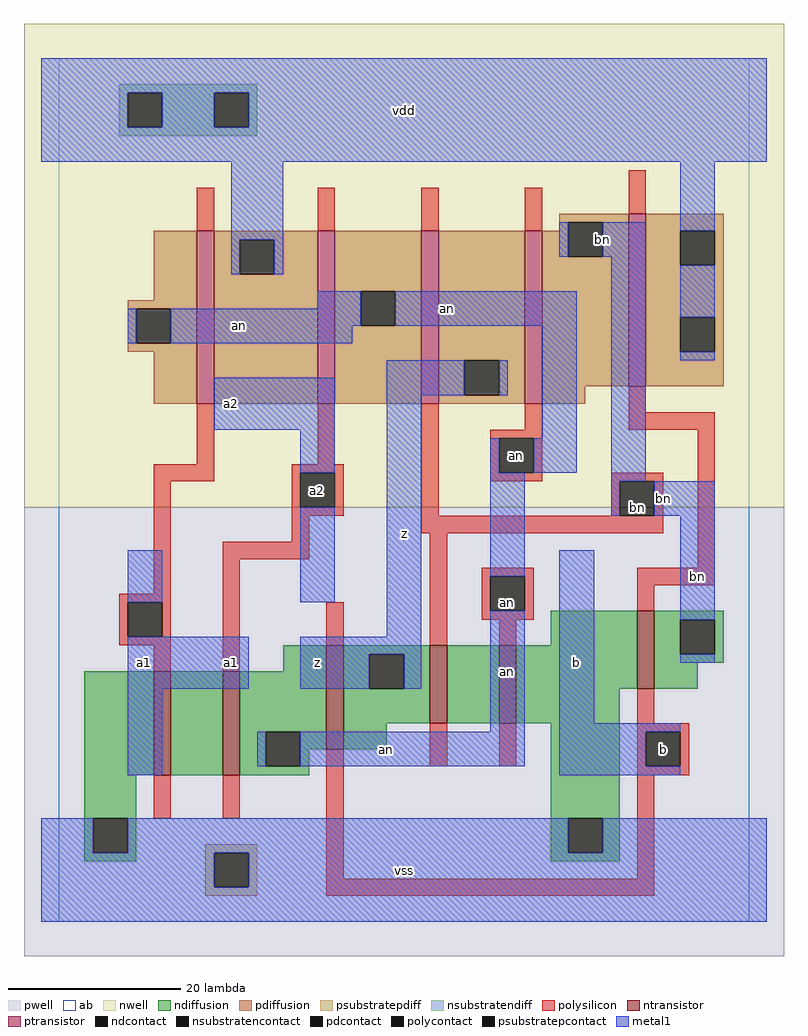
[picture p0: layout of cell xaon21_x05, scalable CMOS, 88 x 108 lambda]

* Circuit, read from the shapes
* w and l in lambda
.subckt xaon21_x05 a1 a2 an b bn vdd vss z
M1 n1 a1 vss vss nfet w=12 l=2
M2 an a2 n1 vss nfet w=12 l=2
M3 z b an vss nfet w=12 l=2
M4 n2 bn z vss nfet w=9 l=2
M5 vss an n2 vss nfet w=9 l=2
M6 bn b vss vss nfet w=9 l=2
M7 vdd a1 an vdd pfet w=20 l=2
M8 an a2 vdd vdd pfet w=20 l=2
M9 z bn an vdd pfet w=20 l=2
M10 bn an z vdd pfet w=20 l=2
M11 vdd b bn vdd pfet w=20 l=2
.ends

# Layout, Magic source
magic
tech scmos
<< ab >>
rect 0 0 80 100
<< pwell >>
rect -4 -4 84 48
<< nwell >>
rect -4 48 84 104
<< polysilicon >>
rect 16 80 18 85
rect 30 80 32 85
rect 42 80 44 85
rect 54 80 56 85
rect 66 82 68 87
rect 16 53 18 60
rect 30 53 32 60
rect 11 51 18 53
rect 27 52 33 53
rect 11 38 13 51
rect 27 48 28 52
rect 32 48 33 52
rect 27 47 33 48
rect 42 47 44 60
rect 54 57 56 60
rect 66 59 68 62
rect 66 57 76 59
rect 50 56 56 57
rect 50 52 51 56
rect 55 52 56 56
rect 50 51 56 52
rect 64 51 70 52
rect 64 47 65 51
rect 69 47 70 51
rect 27 44 29 47
rect 42 45 70 47
rect 7 37 13 38
rect 7 33 8 37
rect 12 33 13 37
rect 7 32 13 33
rect 11 29 13 32
rect 19 42 29 44
rect 19 29 21 42
rect 31 32 33 37
rect 43 32 45 45
rect 74 41 76 57
rect 49 40 55 41
rect 49 36 50 40
rect 54 36 55 40
rect 67 39 76 41
rect 67 36 69 39
rect 49 35 55 36
rect 51 32 53 35
rect 11 12 13 17
rect 19 12 21 17
rect 31 5 33 20
rect 43 18 45 23
rect 51 18 53 23
rect 67 23 69 27
rect 67 22 73 23
rect 67 18 68 22
rect 72 18 73 22
rect 67 17 73 18
rect 67 5 69 17
rect 31 3 69 5
<< ndiffusion >>
rect 57 32 67 36
rect 26 29 31 32
rect 3 17 11 29
rect 13 17 19 29
rect 21 22 31 29
rect 21 18 24 22
rect 28 20 31 22
rect 33 31 43 32
rect 33 27 36 31
rect 40 27 43 31
rect 33 23 43 27
rect 45 23 51 32
rect 53 27 67 32
rect 69 35 77 36
rect 69 31 72 35
rect 76 31 77 35
rect 69 30 77 31
rect 69 27 74 30
rect 53 23 65 27
rect 33 20 38 23
rect 28 18 29 20
rect 21 17 29 18
rect 3 12 9 17
rect 3 8 4 12
rect 8 8 9 12
rect 3 7 9 8
rect 57 12 65 23
rect 57 8 59 12
rect 63 8 65 12
rect 57 7 65 8
<< pdiffusion >>
rect 58 81 66 82
rect 58 80 59 81
rect 11 72 16 80
rect 8 71 16 72
rect 8 67 9 71
rect 13 67 16 71
rect 8 66 16 67
rect 11 60 16 66
rect 18 79 30 80
rect 18 75 21 79
rect 25 75 30 79
rect 18 60 30 75
rect 32 73 42 80
rect 32 69 35 73
rect 39 69 42 73
rect 32 60 42 69
rect 44 65 54 80
rect 44 61 47 65
rect 51 61 54 65
rect 44 60 54 61
rect 56 77 59 80
rect 63 77 66 81
rect 56 62 66 77
rect 68 80 77 82
rect 68 76 72 80
rect 76 76 77 80
rect 68 70 77 76
rect 68 66 72 70
rect 76 66 77 70
rect 68 62 77 66
rect 56 60 61 62
<< metal1 >>
rect -2 96 82 100
rect -2 92 8 96
rect 12 92 18 96
rect 22 92 82 96
rect -2 88 82 92
rect 20 79 26 88
rect 20 75 21 79
rect 25 75 26 79
rect 58 77 59 81
rect 63 77 68 81
rect 30 71 35 73
rect 8 67 9 71
rect 13 69 35 71
rect 39 69 60 73
rect 13 67 34 69
rect 18 57 32 63
rect 28 52 32 57
rect 8 37 12 43
rect 28 37 32 48
rect 38 61 47 65
rect 51 61 52 65
rect 38 33 42 61
rect 56 56 60 69
rect 8 27 22 33
rect 28 31 42 33
rect 28 27 36 31
rect 40 27 42 31
rect 50 52 51 56
rect 55 52 60 56
rect 50 40 54 52
rect 64 51 68 77
rect 72 80 76 88
rect 72 70 76 76
rect 72 65 76 66
rect 64 47 65 51
rect 69 47 76 51
rect 8 17 12 27
rect 50 22 54 36
rect 23 18 24 22
rect 28 18 54 22
rect 58 23 62 43
rect 72 35 76 47
rect 72 30 76 31
rect 58 22 72 23
rect 58 18 68 22
rect 58 17 72 18
rect -2 8 4 12
rect 8 8 59 12
rect 63 8 82 12
rect -2 4 18 8
rect 22 4 82 8
rect -2 0 82 4
<< ntransistor >>
rect 11 17 13 29
rect 19 17 21 29
rect 31 20 33 32
rect 43 23 45 32
rect 51 23 53 32
rect 67 27 69 36
<< ptransistor >>
rect 16 60 18 80
rect 30 60 32 80
rect 42 60 44 80
rect 54 60 56 80
rect 66 62 68 82
<< polycontact >>
rect 28 48 32 52
rect 51 52 55 56
rect 65 47 69 51
rect 8 33 12 37
rect 50 36 54 40
rect 68 18 72 22
<< ndcontact >>
rect 24 18 28 22
rect 36 27 40 31
rect 72 31 76 35
rect 4 8 8 12
rect 59 8 63 12
<< pdcontact >>
rect 9 67 13 71
rect 21 75 25 79
rect 35 69 39 73
rect 47 61 51 65
rect 59 77 63 81
rect 72 76 76 80
rect 72 66 76 70
<< psubstratepcontact >>
rect 18 4 22 8
<< nsubstratencontact >>
rect 8 92 12 96
rect 18 92 22 96
<< psubstratepdiff >>
rect 17 8 23 9
rect 17 4 18 8
rect 22 4 23 8
rect 17 3 23 4
<< nsubstratendiff >>
rect 7 96 23 97
rect 7 92 8 96
rect 12 92 18 96
rect 22 92 23 96
rect 7 91 23 92
<< labels >>
rlabel ntransistor 52 29 52 29 6 an
rlabel polycontact 53 54 53 54 6 an
rlabel polycontact 67 48 67 48 6 bn
rlabel metal1 10 30 10 30 6 a1
rlabel metal1 20 30 20 30 6 a1
rlabel metal1 20 60 20 60 6 a2
rlabel metal1 40 6 40 6 6 vss
rlabel metal1 30 30 30 30 6 z
rlabel polycontact 30 50 30 50 6 a2
rlabel metal1 40 45 40 45 6 z
rlabel metal1 21 69 21 69 6 an
rlabel metal1 40 94 40 94 6 vdd
rlabel metal1 38 20 38 20 6 an
rlabel metal1 60 30 60 30 6 b
rlabel polycontact 52 37 52 37 6 an
rlabel metal1 45 71 45 71 6 an
rlabel polycontact 70 20 70 20 6 b
rlabel metal1 74 40 74 40 6 bn
rlabel metal1 70 49 70 49 6 bn
rlabel metal1 63 79 63 79 6 bn
<< end >>
